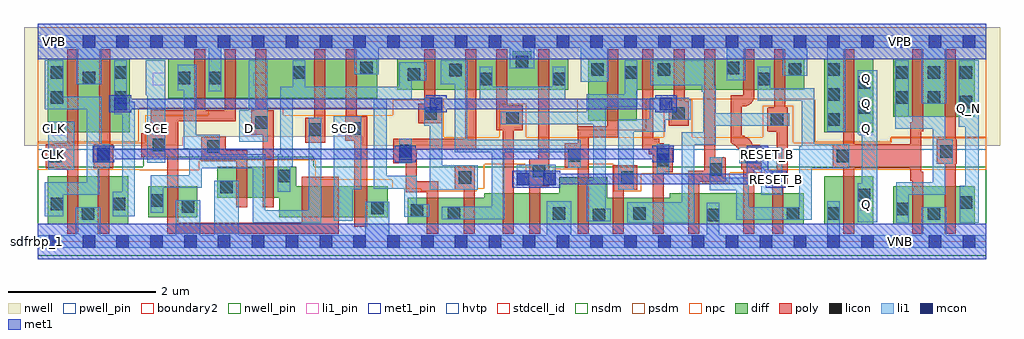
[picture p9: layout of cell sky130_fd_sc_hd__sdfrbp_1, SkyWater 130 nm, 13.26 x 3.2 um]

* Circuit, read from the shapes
.subckt sky130_fd_sc_hd__sdfrbp_1 CLK D Q Q_N RESET_B SCD SCE VGND VNB VPB VPWR
XM1 VGND CLK n1 VNB sky130_fd_pr__nfet_01v8 w=0.65 l=0.15
XM2 n2 n1 VGND VNB sky130_fd_pr__nfet_01v8 w=0.65 l=0.15
XM3 VGND SCE n3 VNB sky130_fd_pr__nfet_01v8 w=0.42 l=0.15
XM4 n4 n3 VGND VNB sky130_fd_pr__nfet_01v8 w=0.42 l=0.15
XM5 n5 D n4 VNB sky130_fd_pr__nfet_01v8 w=0.42 l=0.15
XM6 n6 SCE n5 VNB sky130_fd_pr__nfet_01v8 w=0.42 l=0.5
XM7 VGND SCD n6 VNB sky130_fd_pr__nfet_01v8 w=0.42 l=0.18
XM8 n7 n1 n5 VNB sky130_fd_pr__nfet_01v8 w=0.36 l=0.15
XM9 n8 n2 n7 VNB sky130_fd_pr__nfet_01v8 w=0.36 l=0.15
XM10 n9 n10 n8 VNB sky130_fd_pr__nfet_01v8 w=0.42 l=0.15
XM11 VGND RESET_B n9 VNB sky130_fd_pr__nfet_01v8 w=0.42 l=0.15
XM12 n10 n7 VGND VNB sky130_fd_pr__nfet_01v8 w=0.64 l=0.15
XM13 n11 n2 n10 VNB sky130_fd_pr__nfet_01v8 w=0.36 l=0.15
XM14 n12 n1 n11 VNB sky130_fd_pr__nfet_01v8 w=0.36 l=0.15
XM15 VGND n13 n12 VNB sky130_fd_pr__nfet_01v8 w=0.42 l=0.15
XM16 n14 RESET_B VGND VNB sky130_fd_pr__nfet_01v8 w=0.42 l=0.15
XM17 n13 n11 n14 VNB sky130_fd_pr__nfet_01v8 w=0.42 l=0.15
XM18 Q n13 VGND VNB sky130_fd_pr__nfet_01v8 w=0.65 l=0.15
XM19 VGND n13 n15 VNB sky130_fd_pr__nfet_01v8 w=0.52 l=0.15
XM20 Q_N n15 VGND VNB sky130_fd_pr__nfet_01v8 w=0.52 l=0.15
XM21 VPWR CLK n1 VPB sky130_fd_pr__pfet_01v8_hvt w=1 l=0.15
XM22 n2 n1 VPWR VPB sky130_fd_pr__pfet_01v8_hvt w=1 l=0.15
XM23 VPWR SCE n3 VPB sky130_fd_pr__pfet_01v8_hvt w=0.54 l=0.15
XM24 n16 SCE VPWR VPB sky130_fd_pr__pfet_01v8_hvt w=0.54 l=0.15
XM25 n5 D n16 VPB sky130_fd_pr__pfet_01v8_hvt w=0.54 l=0.15
XM26 n17 n3 n5 VPB sky130_fd_pr__pfet_01v8_hvt w=0.54 l=0.15
XM27 VPWR SCD n17 VPB sky130_fd_pr__pfet_01v8_hvt w=0.54 l=0.15
XM28 n7 n2 n5 VPB sky130_fd_pr__pfet_01v8_hvt w=0.42 l=0.15
XM29 n18 n1 n7 VPB sky130_fd_pr__pfet_01v8_hvt w=0.42 l=0.15
XM30 VPWR n10 n18 VPB sky130_fd_pr__pfet_01v8_hvt w=0.42 l=0.15
XM31 n18 RESET_B VPWR VPB sky130_fd_pr__pfet_01v8_hvt w=0.42 l=0.15
XM32 n10 n7 VPWR VPB sky130_fd_pr__pfet_01v8_hvt w=0.84 l=0.15
XM33 n11 n1 n10 VPB sky130_fd_pr__pfet_01v8_hvt w=0.42 l=0.15
XM34 n19 n2 n11 VPB sky130_fd_pr__pfet_01v8_hvt w=0.42 l=0.15
XM35 VPWR n13 n19 VPB sky130_fd_pr__pfet_01v8_hvt w=0.42 l=0.15
XM36 n13 RESET_B VPWR VPB sky130_fd_pr__pfet_01v8_hvt w=0.42 l=0.15
XM37 VPWR n11 n13 VPB sky130_fd_pr__pfet_01v8_hvt w=0.42 l=0.15
XM38 Q n13 VPWR VPB sky130_fd_pr__pfet_01v8_hvt w=1 l=0.15
XM39 VPWR n13 n15 VPB sky130_fd_pr__pfet_01v8_hvt w=0.79 l=0.15
XM40 Q_N n15 VPWR VPB sky130_fd_pr__pfet_01v8_hvt w=0.79 l=0.15
.ends

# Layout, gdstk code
import gdstk
lib = gdstk.Library(unit=1e-6, precision=1e-09)
def R(c, l, rs):  # rectangles x0, y0, x1, y1
    for r in rs: c.add(gdstk.rectangle(r[:2], r[2:], *l))
def A(c, l, x, y, w, h, nx, ny, dx, dy):  # array of equal rectangles
    R(c, l, [(x+i*dx, y+j*dy, x+i*dx+w, y+j*dy+h) for i in range(nx) for j in range(ny)])
def P(c, l, *ps):  # polygons
    for p in ps: c.add(gdstk.Polygon(p, *l))
nwell_pin = (64, 16)
nwell = (64, 20)
diff = (65, 20)
poly = (66, 20)
licon = (66, 44)
li1_pin = (67, 16)
li1 = (67, 20)
mcon = (67, 44)
met1_pin = (68, 16)
met1 = (68, 20)
hvtp = (78, 44)
stdcell_id = (81, 4)
nsdm = (93, 44)
psdm = (94, 20)
npc = (95, 20)
pwell_pin = (122, 16)
boundary2 = (236, 0)

sky130_fd_sc_hd__sdfrbp_ = lib.new_cell('sky130_fd_sc_hd__sdfrbp_1')
R(sky130_fd_sc_hd__sdfrbp_, nwell_pin, [(0.17,2.64,0.315,2.78)])
P(sky130_fd_sc_hd__sdfrbp_, nwell, [(13.07,2.91),(-0.19,2.91),(-0.19,1.305),(1.97,1.305),(1.97,1.425),(4.405,1.425),(4.405,1.305),(13.07,1.305)])
R(sky130_fd_sc_hd__sdfrbp_, diff, [(0.135,0.235,1.225,0.885), (10.68,0.235,11.35,0.885), (11.62,0.235,12.73,0.755), (1.495,0.33,2.165,0.75), (0.135,1.485,1.245,2.485), (10.68,1.485,11.35,2.485), (11.62,1.695,12.73,2.485), (1.77,1.945,4.61,2.485)])
P(sky130_fd_sc_hd__sdfrbp_, diff, [(4.755,0.75),(3.51,0.75),(3.51,1.015),(2.435,1.015),(2.435,0.595),(3.28,0.595),(3.28,0.33),(4.755,0.33)],
  [(7.205,2.485),(6.7,2.485),(6.7,2.585),(6.45,2.585),(6.45,2.485),(4.88,2.485),(4.88,2.065),(7.205,2.065)],
  [(10.405,0.655),(8.58,0.655),(8.58,0.595),(7.735,0.595),(7.735,0.875),(7.085,0.875),(7.085,0.655),(6.065,0.655),(6.065,0.595),(5.025,0.595),(5.025,0.235),(10.405,0.235)],
  [(10.41,2.485),(7.475,2.485),(7.475,1.645),(8.135,1.645),(8.135,2.065),(10.41,2.065)])
P(sky130_fd_sc_hd__sdfrbp_, poly, [(0.545,2.615),(0.395,2.615),(0.395,1.345),(0.23,1.345),(0.23,1.325),(0.105,1.325),(0.105,0.995),(0.23,0.995),(0.23,0.98),(0.395,0.98),(0.395,0.105),(0.545,0.105)],
  [(1.025,1.325),(0.98,1.325),(0.98,2.615),(0.83,2.615),(0.83,1.325),(0.755,1.325),(0.755,0.995),(0.815,0.995),(0.815,0.105),(0.965,0.105),(0.965,0.995),(1.025,0.995)],
  [(2.845,1.24),(2.55,1.24),(2.55,1.425),(2.22,1.425),(2.22,1.09),(2.695,1.09),(2.695,0.465),(2.845,0.465)],
  [(3.205,1.785),(3.1,1.785),(3.1,2.615),(2.95,2.615),(2.95,1.785),(2.9,1.785),(2.9,1.455),(3.055,1.455),(3.055,0.465),(3.205,0.465)],
  [(3.9,2.615),(3.75,2.615),(3.75,1.685),(3.65,1.685),(3.65,1.68),(3.64,1.68),(3.64,1.675),(3.63,1.675),(3.63,1.34),(3.9,1.34)],
  [(4.085,0.88),(3.585,0.88),(3.585,0.255),(1.905,0.255),(1.905,1.635),(2.69,1.635),(2.69,2.615),(2.54,2.615),(2.54,1.785),(2.27,1.785),(2.27,2.615),(2.12,2.615),(2.12,1.785),(1.535,1.785),(1.535,1.475),(1.4,1.475),(1.4,1.145),(1.755,1.145),(1.755,0.105),(4.085,0.105)],
  [(4.475,1.7),(4.33,1.7),(4.33,2.615),(4.18,2.615),(4.18,1.7),(4.175,1.7),(4.175,1.37),(4.295,1.37),(4.295,0.2),(4.475,0.2)],
  [(5.495,1.875),(5.395,1.875),(5.395,2.615),(5.245,2.615),(5.245,1.875),(5.165,1.875),(5.165,1.605),(5.495,1.605)],
  [(5.935,1.035),(5.665,1.035),(5.665,0.705),(5.785,0.705),(5.785,0.105),(5.935,0.105)],
  [(5.955,2.615),(5.805,2.615),(5.805,1.395),(4.83,1.395),(4.83,1.065),(4.995,1.065),(4.995,0.67),(5.285,0.67),(5.285,0.105),(5.435,0.105),(5.435,0.82),(5.145,0.82),(5.145,1.245),(5.955,1.245)],
  [(6.585,1.855),(6.375,1.855),(6.375,2.615),(6.225,2.615),(6.225,1.515),(6.315,1.515),(6.315,0.105),(6.465,0.105),(6.465,1.515),(6.585,1.515)],
  [(6.945,2.615),(6.795,2.615),(6.795,1.125),(6.675,1.125),(6.675,0.105),(6.825,0.105),(6.825,0.755),(6.945,0.755)],
  [(7.885,2.615),(7.735,2.615),(7.735,1.57),(7.335,1.57),(7.335,1.335),(7.155,1.335),(7.155,1.005),(7.335,1.005),(7.335,0.105),(7.485,0.105),(7.485,1.42),(7.885,1.42)],
  [(8.145,1.035),(7.81,1.035),(7.81,0.105),(7.96,0.105),(7.96,0.705),(8.145,0.705)],
  [(8.625,1.275),(8.505,1.275),(8.505,1.335),(8.44,1.335),(8.44,1.395),(8.36,1.395),(8.36,2.615),(8.21,2.615),(8.21,1.245),(8.295,1.245),(8.295,1.185),(8.355,1.185),(8.355,0.105),(8.505,0.105),(8.505,0.945),(8.625,0.945)],
  [(8.84,1.905),(8.79,1.905),(8.79,2.615),(8.64,2.615),(8.64,1.905),(8.57,1.905),(8.57,1.575),(8.84,1.575)],
  [(9.345,1.135),(9.335,1.135),(9.335,1.14),(9.325,1.14),(9.325,1.145),(9.2,1.145),(9.2,2.615),(9.05,2.615),(9.05,0.965),(8.835,0.965),(8.835,0.105),(8.985,0.105),(8.985,0.815),(9.345,0.815)],
  [(9.825,1.305),(9.815,1.305),(9.815,1.31),(9.805,1.31),(9.805,1.315),(9.705,1.315),(9.705,1.33),(9.7,1.33),(9.7,1.345),(9.695,1.345),(9.695,1.35),(9.69,1.35),(9.69,1.36),(9.685,1.36),(9.685,1.365),(9.68,1.365),(9.68,1.375),(9.675,1.375),(9.675,1.38),(9.67,1.38),(9.67,1.385),(9.665,1.385),(9.665,1.39),(9.66,1.39),(9.66,1.395),(9.65,1.395),(9.65,1.4),(9.645,1.4),(9.645,1.405),(9.635,1.405),(9.635,1.41),(9.63,1.41),(9.63,1.415),(9.615,1.415),(9.615,1.42),(9.6,1.42),(9.6,1.435),(9.56,1.435),(9.56,1.84),(9.62,1.84),(9.62,1.845),(9.635,1.845),(9.635,1.85),(9.65,1.85),(9.65,1.855),(9.655,1.855),(9.655,1.86),(9.665,1.86),(9.665,1.865),(9.67,1.865),(9.67,1.87),(9.68,1.87),(9.68,1.875),(9.685,1.875),(9.685,1.88),(9.69,1.88),(9.69,1.885),(9.695,1.885),(9.695,1.89),(9.7,1.89),(9.7,1.9),(9.705,1.9),(9.705,1.905),(9.71,1.905),(9.71,1.915),(9.715,1.915),(9.715,1.92),(9.72,1.92),(9.72,1.935),(9.73,1.935),(9.73,2.615),(9.58,2.615),(9.58,1.99),(9.41,1.99),(9.41,1.34),(9.425,1.34),(9.425,1.33),(9.435,1.33),(9.435,1.325),(9.445,1.325),(9.445,1.32),(9.455,1.32),(9.455,1.315),(9.465,1.315),(9.465,1.31),(9.47,1.31),(9.47,1.305),(9.475,1.305),(9.475,1.3),(9.485,1.3),(9.485,1.295),(9.49,1.295),(9.49,1.29),(9.495,1.29),(9.495,1.285),(9.5,1.285),(9.5,1.28),(9.505,1.28),(9.505,1.275),(9.51,1.275),(9.51,1.265),(9.515,1.265),(9.515,1.26),(9.52,1.26),(9.52,1.255),(9.525,1.255),(9.525,1.245),(9.53,1.245),(9.53,1.235),(9.535,1.235),(9.535,1.225),(9.54,1.225),(9.54,1.215),(9.545,1.215),(9.545,1.2),(9.55,1.2),(9.55,1.185),(9.555,1.185),(9.555,0.985),(9.58,0.985),(9.58,0.105),(9.73,0.105),(9.73,0.985),(9.825,0.985)],
  [(10.185,1.825),(10.15,1.825),(10.15,2.615),(10,2.615),(10,1.825),(9.925,1.825),(9.925,1.82),(9.915,1.82),(9.915,1.815),(9.905,1.815),(9.905,1.505),(9.915,1.505),(9.915,1.5),(9.925,1.5),(9.925,1.495),(10.035,1.495),(10.035,0.85),(10.025,0.85),(10.025,0.845),(10.02,0.845),(10.02,0.84),(10.015,0.84),(10.015,0.835),(9.975,0.835),(9.975,0.105),(10.125,0.105),(10.125,0.73),(10.185,0.73)],
  [(12.03,0.95),(12,0.95),(12,1.5),(12.03,1.5),(12.03,2.615),(11.88,2.615),(11.88,1.62),(11.85,1.62),(11.85,1.325),(11.09,1.325),(11.09,2.615),(10.94,2.615),(10.94,1.325),(10.8,1.325),(10.8,0.995),(10.94,0.995),(10.94,0.105),(11.09,0.105),(11.09,0.995),(11.85,0.995),(11.85,0.83),(11.88,0.83),(11.88,0.105),(12.03,0.105)],
  [(12.48,1.39),(12.47,1.39),(12.47,2.615),(12.32,2.615),(12.32,1.39),(12.21,1.39),(12.21,1.06),(12.32,1.06),(12.32,0.105),(12.47,0.105),(12.47,1.06),(12.48,1.06)])
A(sky130_fd_sc_hd__sdfrbp_, licon, 10.72, 1.575, 0.17, 0.17, 1, 3, 0, 0.34)
A(sky130_fd_sc_hd__sdfrbp_, licon, 11.66, 2.215, 0.17, 0.17, 3, 1, 0.43, 0)
R(sky130_fd_sc_hd__sdfrbp_, licon, [(7.535,0.275,7.705,0.445), (9.085,0.275,9.255,0.445), (0.595,0.295,0.765,0.465), (6.995,0.295,7.165,0.465), (8.085,0.295,8.255,0.465), (10.175,0.295,10.345,0.465), (10.72,0.295,10.89,0.465), (12.09,0.295,12.26,0.465), (5.565,0.305,5.735,0.475), (5.065,0.335,5.235,0.505), (11.66,0.36,11.83,0.53), (4.525,0.37,4.695,0.54), (1.955,0.39,2.125,0.56), (0.175,0.425,0.345,0.595), (1.015,0.425,1.185,0.595), (12.52,0.445,12.69,0.615), (1.535,0.475,1.705,0.645), (11.14,0.545,11.31,0.715), (2.475,0.655,2.645,0.825), (5.715,0.785,5.885,0.955), (7.925,0.785,8.095,0.955), (3.255,0.805,3.425,0.975), (6.725,0.875,6.895,1.045), (9.125,0.895,9.295,1.065), (8.405,1.025,8.575,1.195), (9.605,1.065,9.775,1.235), (0.155,1.075,0.325,1.245), (0.805,1.075,0.975,1.245), (10.85,1.075,11.02,1.245), (7.205,1.085,7.375,1.255), (12.26,1.14,12.43,1.31), (4.905,1.145,5.075,1.315), (2.3,1.205,2.47,1.375), (1.56,1.225,1.73,1.395), (3.68,1.435,3.85,1.605), (4.225,1.45,4.395,1.62), (2.95,1.535,3.12,1.705), (9.955,1.575,10.125,1.745), (6.365,1.595,6.535,1.765), (5.245,1.655,5.415,1.825), (8.62,1.655,8.79,1.825), (11.14,1.735,11.31,1.905), (12.52,1.81,12.69,1.98), (0.175,1.875,0.345,2.045), (1.035,1.875,1.205,2.045), (11.66,1.875,11.83,2.045), (12.09,1.875,12.26,2.045), (11.14,2.075,11.31,2.245), (6.005,2.125,6.175,2.295), (6.995,2.125,7.165,2.295), (9.78,2.125,9.95,2.295), (0.61,2.135,0.78,2.305), (1.9,2.135,2.07,2.305), (2.32,2.14,2.49,2.31), (5.025,2.185,5.195,2.355), (0.175,2.215,0.345,2.385), (1.035,2.215,1.205,2.385), (3.46,2.215,3.63,2.385), (7.97,2.215,8.14,2.385), (5.585,2.245,5.755,2.415), (8.42,2.25,8.59,2.42), (7.515,2.255,7.685,2.425), (10.2,2.255,10.37,2.425), (4.38,2.275,4.55,2.445), (9.36,2.275,9.53,2.445), (6.49,2.355,6.66,2.525)])
A(sky130_fd_sc_hd__sdfrbp_, li1_pin, 11.17, 1.445, 0.17, 0.17, 1, 3, 0, 0.34)
R(sky130_fd_sc_hd__sdfrbp_, li1_pin, [(11.17,0.425,11.34,0.595), (9.945,0.765,10.115,0.935), (0.2,1.105,0.37,1.275), (9.825,1.105,9.995,1.275), (0.2,1.445,0.37,1.615), (1.56,1.445,1.73,1.615), (2.795,1.445,2.965,1.615), (4.075,1.445,4.245,1.615), (12.555,1.715,12.725,1.895), (1.56,2.125,1.73,2.295), (2.925,2.125,3.095,2.295), (11.63,2.635,11.8,2.805)])
R(sky130_fd_sc_hd__sdfrbp_, li1, [(6.505,0.765,7.035,1.045), (8.405,0.92,8.575,1.325), (0.14,0.975,0.49,1.625), (4.905,1.065,5.075,1.395)])
P(sky130_fd_sc_hd__sdfrbp_, li1, [(0.975,1.325),(0.865,1.325),(0.865,1.965),(0.345,1.965),(0.345,2.465),(0.09,2.465),(0.09,1.795),(0.66,1.795),(0.66,0.805),(0.095,0.805),(0.095,0.345),(0.345,0.345),(0.345,0.635),(0.835,0.635),(0.835,0.995),(0.975,0.995)],
  [(1.315,1.9),(1.205,1.9),(1.205,2.465),(1.035,2.465),(1.035,1.73),(1.145,1.73),(1.145,0.675),(1.015,0.675),(1.015,0.345),(1.315,0.345)],
  [(1.73,2.465),(1.465,2.465),(1.465,1.985),(1.485,1.985),(1.485,1.07),(1.73,1.07)],
  [(3.12,2.465),(2.865,2.465),(2.865,1.785),(2.735,1.785),(2.735,1.355),(3.12,1.355)],
  [(3.85,1.685),(3.68,1.685),(3.68,0.425),(3.085,0.425),(3.085,1.185),(2.47,1.185),(2.47,1.455),(2.15,1.455),(2.15,2.4),(1.9,2.4),(1.9,2.055),(1.98,2.055),(1.98,1.26),(2.055,1.26),(2.055,0.9),(1.535,0.9),(1.535,0.395),(1.705,0.395),(1.705,0.73),(2.225,0.73),(2.225,0.995),(2.915,0.995),(2.915,0.255),(3.85,0.255)],
  [(4.395,1.7),(4.02,1.7),(4.02,0.285),(4.275,0.285),(4.275,0.71),(4.395,0.71)],
  [(5.315,0.505),(5.145,0.505),(5.145,0.895),(4.735,0.895),(4.735,1.935),(5.075,1.935),(5.075,2.185),(5.275,2.185),(5.275,2.435),(4.905,2.435),(4.905,2.105),(3.63,2.105),(3.63,2.465),(3.46,2.465),(3.46,2.105),(3.29,2.105),(3.29,1.185),(3.255,1.185),(3.255,0.675),(3.425,0.675),(3.425,1.015),(3.46,1.015),(3.46,1.935),(4.565,1.935),(4.565,0.715),(4.975,0.715),(4.975,0.335),(5.315,0.335)],
  [(5.975,1.035),(5.495,1.035),(5.495,1.955),(5.245,1.955),(5.245,1.575),(5.325,1.575),(5.325,0.705),(5.975,0.705)],
  [(7.165,2.375),(6.995,2.375),(6.995,2.105),(6.175,2.105),(6.175,2.375),(6.005,2.375),(6.005,1.935),(7.165,1.935)],
  [(7.375,1.385),(5.835,1.385),(5.835,2.465),(5.47,2.465),(5.47,2.135),(5.665,2.135),(5.665,1.215),(6.165,1.215),(6.165,0.475),(5.485,0.475),(5.485,0.305),(6.335,0.305),(6.335,1.215),(7.205,1.215),(7.205,1.005),(7.375,1.005)],
  [(12.78,2.465),(12.51,2.465),(12.51,1.56),(12.6,1.56),(12.6,0.76),(12.52,0.76),(12.52,0.255),(12.78,0.255)],
  [(12.88,0.085),(12.34,0.085),(12.34,0.465),(12.01,0.465),(12.01,0.085),(10.89,0.085),(10.89,0.545),(10.72,0.545),(10.72,0.085),(9.255,0.085),(9.255,0.525),(9.085,0.525),(9.085,0.085),(7.245,0.085),(7.245,0.545),(6.915,0.545),(6.915,0.085),(4.775,0.085),(4.775,0.54),(4.445,0.54),(4.445,0.085),(2.725,0.085),(2.725,0.825),(2.395,0.825),(2.395,0.085),(2.205,0.085),(2.205,0.56),(1.875,0.56),(1.875,0.085),(0.845,0.085),(0.845,0.465),(0.515,0.465),(0.515,0.085),(0,0.085),(0,-0.085),(12.88,-0.085)],
  [(12.43,1.39),(12.325,1.39),(12.325,1.705),(11.83,1.705),(11.83,2.465),(11.65,2.465),(11.65,1.535),(12.155,1.535),(12.155,0.805),(11.66,0.805),(11.66,0.255),(11.83,0.255),(11.83,0.635),(12.325,0.635),(12.325,1.06),(12.43,1.06)],
  [(11.4,2.325),(11.14,2.325),(11.14,1.46),(11.15,1.46),(11.15,1.445),(11.19,1.445),(11.19,0.795),(11.14,0.795),(11.14,0.265),(11.4,0.265)],
  [(11.02,1.325),(10.545,1.325),(10.545,2.085),(9.95,2.085),(9.95,2.375),(9.78,2.375),(9.78,1.915),(10.375,1.915),(10.375,1.295),(10.345,1.295),(10.345,0.465),(9.655,0.465),(9.655,0.865),(9.295,0.865),(9.295,1.145),(9.125,1.145),(9.125,0.695),(9.485,0.695),(9.485,0.295),(10.515,0.295),(10.515,0.995),(11.02,0.995)],
  [(10.205,1.745),(9.21,1.745),(9.21,2.115),(9.19,2.115),(9.19,2.465),(8.32,2.465),(8.32,2.125),(9.015,2.125),(9.015,2.035),(9.04,2.035),(9.04,1.485),(8.745,1.485),(8.745,0.535),(8.005,0.535),(8.005,0.255),(8.915,0.255),(8.915,1.315),(9.21,1.315),(9.21,1.575),(10.205,1.575)],
  [(12.88,2.805),(0,2.805),(0,2.635),(0.53,2.635),(0.53,2.135),(0.86,2.135),(0.86,2.635),(2.32,2.635),(2.32,2.04),(2.49,2.04),(2.49,2.635),(4.3,2.635),(4.3,2.275),(4.63,2.275),(4.63,2.635),(6.41,2.635),(6.41,2.355),(6.74,2.355),(6.74,2.635),(7.375,2.635),(7.375,2.175),(7.745,2.175),(7.745,2.635),(9.36,2.635),(9.36,2.195),(9.61,2.195),(9.61,2.635),(10.12,2.635),(10.12,2.255),(10.45,2.255),(10.45,2.635),(10.72,2.635),(10.72,1.495),(10.97,1.495),(10.97,2.635),(12.01,2.635),(12.01,1.875),(12.34,1.875),(12.34,2.635),(12.88,2.635)],
  [(8.14,2.465),(7.97,2.465),(7.97,2.005),(7.455,2.005),(7.455,1.765),(6.285,1.765),(6.285,1.595),(7.545,1.595),(7.545,0.835),(7.455,0.835),(7.455,0.275),(7.785,0.275),(7.785,0.445),(7.715,0.445),(7.715,1.835),(8.14,1.835)],
  [(10.115,1.275),(9.525,1.275),(9.525,1.065),(9.825,1.065),(9.825,0.635),(10.115,0.635)],
  [(8.87,1.935),(8.84,1.935),(8.84,1.955),(8.31,1.955),(8.31,1.665),(7.885,1.665),(7.885,0.705),(8.095,0.705),(8.095,1.495),(8.52,1.495),(8.52,1.655),(8.87,1.655)])
A(sky130_fd_sc_hd__sdfrbp_, mcon, 0.145, -0.085, 0.17, 0.17, 28, 2, 0.46, 2.72)
R(sky130_fd_sc_hd__sdfrbp_, mcon, [(6.505,0.765,6.675,0.935), (6.865,0.765,7.035,0.935), (9.945,0.765,10.115,0.935), (0.805,1.105,0.975,1.275), (4.905,1.105,5.075,1.275), (8.405,1.105,8.575,1.275), (9.69,1.105,9.86,1.275), (1.035,1.785,1.205,1.955), (5.325,1.785,5.495,1.955), (8.445,1.785,8.615,1.955)])
R(sky130_fd_sc_hd__sdfrbp_, met1_pin, [(0.195,-0.05,0.285,0.035), (0.155,2.67,0.315,2.77)])
P(sky130_fd_sc_hd__sdfrbp_, met1, [(8.635,1.305),(8.345,1.305),(8.345,1.26),(5.135,1.26),(5.135,1.305),(4.845,1.305),(4.845,1.26),(1.035,1.26),(1.035,1.305),(0.745,1.305),(0.745,1.075),(1.035,1.075),(1.035,1.12),(4.845,1.12),(4.845,1.075),(5.135,1.075),(5.135,1.12),(8.345,1.12),(8.345,1.075),(8.635,1.075)],
  [(8.675,1.985),(8.385,1.985),(8.385,1.94),(5.555,1.94),(5.555,1.985),(5.265,1.985),(5.265,1.94),(1.27,1.94),(1.27,1.985),(0.97,1.985),(0.97,1.755),(1.27,1.755),(1.27,1.8),(5.265,1.8),(5.265,1.755),(5.555,1.755),(5.555,1.8),(8.385,1.8),(8.385,1.755),(8.675,1.755)],
  [(10.175,0.965),(9.92,0.965),(9.92,1.305),(9.63,1.305),(9.63,0.92),(7.095,0.92),(7.095,0.965),(6.445,0.965),(6.445,0.735),(7.095,0.735),(7.095,0.78),(9.885,0.78),(9.885,0.735),(10.175,0.735)])
R(sky130_fd_sc_hd__sdfrbp_, hvtp, [(0,1.25,12.88,2.72)])
R(sky130_fd_sc_hd__sdfrbp_, stdcell_id, [(0,0,12.88,2.72)])
P(sky130_fd_sc_hd__sdfrbp_, nsdm, [(12.88,1.015),(3.745,1.015),(3.745,1.155),(1.43,1.155),(1.43,1.015),(0,1.015),(0,-0.19),(12.88,-0.19)])
P(sky130_fd_sc_hd__sdfrbp_, psdm, [(12.88,2.91),(0,2.91),(0,1.355),(1.37,1.355),(1.37,1.815),(4.735,1.815),(4.735,1.935),(7.325,1.935),(7.325,1.515),(8.265,1.515),(8.265,1.935),(10.555,1.935),(10.555,1.355),(11.585,1.355),(11.585,1.42),(12.88,1.42)])
P(sky130_fd_sc_hd__sdfrbp_, npc, [(12.88,1.41),(11.595,1.41),(11.595,1.345),(10.26,1.345),(10.26,1.845),(9.845,1.845),(9.845,1.42),(8.89,1.42),(8.89,1.925),(8.5,1.925),(8.5,1.42),(6.635,1.42),(6.635,1.875),(6.265,1.875),(6.265,1.42),(5.515,1.42),(5.515,1.93),(4.82,1.93),(4.82,1.72),(3.33,1.72),(3.33,1.805),(2.315,1.805),(2.315,1.72),(1.46,1.72),(1.46,1.345),(0,1.345),(0,0.975),(1.385,0.975),(1.385,0.97),(2.19,0.97),(2.19,1.105),(3.77,1.105),(3.77,0.84),(4.81,0.84),(4.81,0.715),(5.205,0.715),(5.205,0.685),(5.96,0.685),(5.96,0.715),(6.06,0.715),(6.06,1.05),(6.625,1.05),(6.625,0.77),(6.995,0.77),(6.995,0.985),(7.475,0.985),(7.475,1.05),(7.825,1.05),(7.825,0.685),(8.195,0.685),(8.195,0.925),(9.025,0.925),(9.025,0.795),(9.395,0.795),(9.395,0.935),(9.875,0.935),(9.875,0.975),(12.88,0.975)])
R(sky130_fd_sc_hd__sdfrbp_, pwell_pin, [(0.215,-0.01,0.235,0.015)])
R(sky130_fd_sc_hd__sdfrbp_, boundary2, [(0,0,12.88,2.72)])
sky130_fd_sc_hd__sdfrbp_.add(gdstk.FlexPath([(0,2.72),(12.88,2.72)], 0.48, ends="flush", simple_path=True, layer=68, datatype=20))  # met1
sky130_fd_sc_hd__sdfrbp_.add(gdstk.FlexPath([(0,0),(12.88,0)], 0.48, ends="flush", simple_path=True, layer=68, datatype=20))  # met1
sky130_fd_sc_hd__sdfrbp_.add(gdstk.Label('sdfrbp_1', (0,0), layer=83, texttype=44))
sky130_fd_sc_hd__sdfrbp_.add(gdstk.Label('VPB', (0.23,2.72), layer=64, texttype=5))
sky130_fd_sc_hd__sdfrbp_.add(gdstk.Label('VPB', (11.715,2.72), layer=64, texttype=5))
sky130_fd_sc_hd__sdfrbp_.add(gdstk.Label('VNB', (0.23,0), layer=64, texttype=59))
sky130_fd_sc_hd__sdfrbp_.add(gdstk.Label('VNB', (11.715,0), layer=64, texttype=59))
sky130_fd_sc_hd__sdfrbp_.add(gdstk.Label('VPWR', (0.23,2.72), layer=68, texttype=5))
sky130_fd_sc_hd__sdfrbp_.add(gdstk.Label('VGND', (0.23,0), layer=68, texttype=5))
sky130_fd_sc_hd__sdfrbp_.add(gdstk.Label('Q_N', (12.64,1.805), layer=67, texttype=5))
sky130_fd_sc_hd__sdfrbp_.add(gdstk.Label('SCE', (1.615,1.53), layer=67, texttype=5))
sky130_fd_sc_hd__sdfrbp_.add(gdstk.Label('SCD', (4.165,1.53), layer=67, texttype=5))
sky130_fd_sc_hd__sdfrbp_.add(gdstk.Label('D', (2.875,1.53), layer=67, texttype=5))
sky130_fd_sc_hd__sdfrbp_.add(gdstk.Label('RESET_B', (9.91,1.19), layer=67, texttype=5))
sky130_fd_sc_hd__sdfrbp_.add(gdstk.Label('CLK', (0.215,1.19), layer=67, texttype=5))
sky130_fd_sc_hd__sdfrbp_.add(gdstk.Label('CLK', (0.225,1.53), layer=67, texttype=5))
sky130_fd_sc_hd__sdfrbp_.add(gdstk.Label('RESET_B', (10.03,0.85), layer=67, texttype=5))
sky130_fd_sc_hd__sdfrbp_.add(gdstk.Label('Q', (11.255,0.51), layer=67, texttype=5))
sky130_fd_sc_hd__sdfrbp_.add(gdstk.Label('Q', (11.255,1.53), layer=67, texttype=5))
sky130_fd_sc_hd__sdfrbp_.add(gdstk.Label('Q', (11.255,1.87), layer=67, texttype=5))
sky130_fd_sc_hd__sdfrbp_.add(gdstk.Label('Q', (11.255,2.21), layer=67, texttype=5))

lib.write_gds('sky130_fd_sc_hd__sdfrbp_1.gds')
